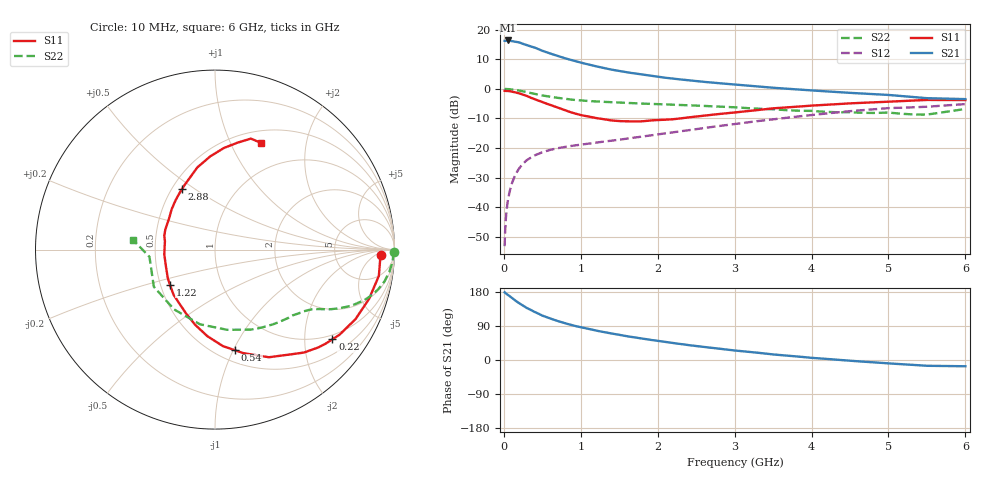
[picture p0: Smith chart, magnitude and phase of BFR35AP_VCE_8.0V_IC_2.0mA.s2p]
! Infineon Technologies  Discrete & RF Semiconductors
! BFR35AP
! VCE =  8.0 V,  IC =  2.0 mA
! Common Emitter S-Parameters:  Nov 2015
# GHz  S  MA  R  50
!  f  S11  S21  S12  S22
! GHz  MAG  ANG  MAG  ANG  MAG  ANG  MAG  ANG
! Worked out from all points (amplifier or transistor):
!   210 points, 10 MHz to 6 GHz, reference 50 ohm
!   highest |S21| = 16.4 dB at 50 MHz (marker M1)
!   |S21| within 3 dB of that: start of sweep to 454.1 MHz
!   unconditionally stable (mu >= 1): 1.207 GHz to 3.338 GHz
!   at 185 MHz: K = 0.22, MSG = 21.6 dB, |S12| = -27.5 dB
!   at 1.52 GHz: K = 1.10, MAG = 9.6 dB, |S12| = -17.1 dB
!   at 6 GHz: K = 0.94, MSG = 0.8 dB, |S12| = -5.1 dB
!   S11 on the Smith chart (normalised r, x): 10 MHz: 22, -9; 220 MHz: 0.87, -2.70; 540 MHz: 0.61, -1.02; 1.22 GHz: 0.56, -0.24; 2.88 GHz: 0.56, +0.45; 6 GHz: 0.64, +1.31
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0.01  0.9264 -1.8  6.467 178.6  0.0022 92.3  0.9981 -0.7
0.025  0.9217 -4.4  6.462 175.9  0.0061 86.1  0.9933 -1.8
0.05  0.9246 -9.1  6.571 172.2  0.0124 85.8  0.9924 -3.7
0.1  0.9011 -17.8  6.429 164.8  0.0242 80.1  0.9792 -7.3
0.15  0.8733 -26.4  6.272 156.6  0.0353 74.0  0.9601 -10.7
0.22  0.8232 -37.4  5.946 147.3  0.0491 68.7  0.924 -14.8
0.3  0.7578 -49.2  5.474 137.1  0.0627 63.3  0.8797 -18.6
0.4  0.6707 -63.4  4.985 126.8  0.0751 57.7  0.823 -22.3
0.5  0.5978 -74.7  4.4 117.2  0.0849 53.7  0.7729 -24.9
0.54  0.5719 -78.7  4.218 114.4  0.0881 52.5  0.7583 -25.6
0.7  0.4839 -95.1  3.605 102.8  0.0994 49.1  0.7054 -28.2
0.8  0.4328 -104.9  3.273 96.7  0.1047 47.9  0.6777 -29.3
0.9  0.3918 -114.1  3.012 91.0  0.1098 47.5  0.6538 -30.4
1.02  0.3568 -124.8  2.737 85.5  0.1148 47.2  0.6341 -31.6
1.22  0.3181 -142.2  2.372 76.8  0.1244 47.4  0.6105 -33.9
1.6  0.2838 -174.7  1.903 62.7  0.1439 49.0  0.5781 -38.5
2.02  0.2988 157.1  1.586 50.0  0.1713 51.0  0.5515 -44.8
2.88  0.3852 118.4  1.218 28.0  0.2435 50.3  0.4959 -62.7
3.1  0.4111 112.0  1.153 23.2  0.2651 49.0  0.4784 -68.8
4.1  0.5296 91.1  0.923 4.3  0.3727 40.0  0.415 -105.8
5.1  0.6149 77.1  0.77 -10.2  0.4767 25.4  0.3868 -153.4
6  0.6473 66.6  0.671 -16.5  0.5532 13.8  0.4571 173.5
